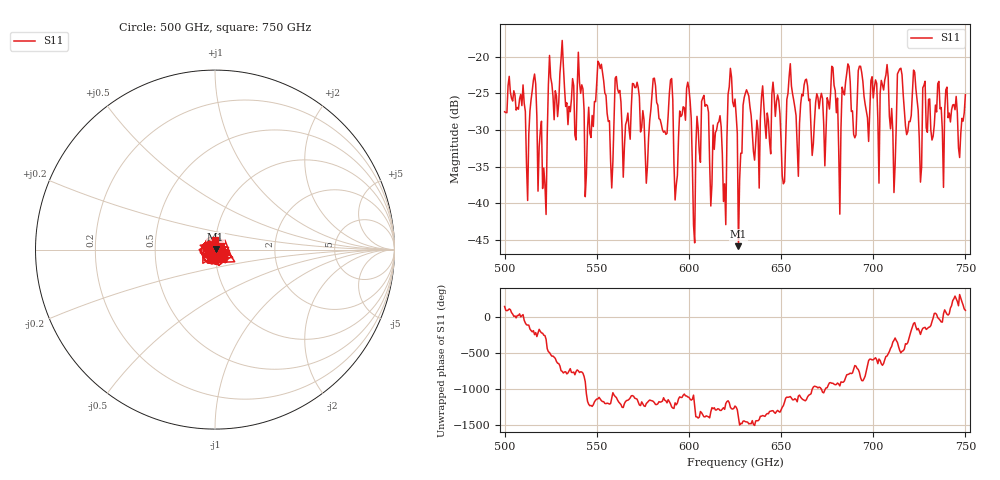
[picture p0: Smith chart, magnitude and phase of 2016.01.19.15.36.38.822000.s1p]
!Created with skrf (http://scikit-rf.org).
# GHz S RI R 50.0
!freq ReS11 ImS11
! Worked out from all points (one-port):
!   401 points, 500 GHz to 750 GHz, reference 50 ohm
!   lowest |S11| = -45.9 dB at 626.9 GHz (marker M1), VSWR 1.01, Z = 50.3 + j0.426 ohm
!   |S11| at or under -10 dB: start of sweep to end of sweep
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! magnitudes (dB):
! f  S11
! 500 GHz  -27.5
! 512.5 GHz  -39.6
! 515.6 GHz  -23.2
! 521.9 GHz  -37.4
! 525 GHz  -22.8
! 531.2 GHz  -17.8
! 545 GHz  -29.7
! 551.9 GHz  -21.6
! 557.5 GHz  -34.2
! 562.5 GHz  -24.6
! 577.5 GHz  -35.0
! 590 GHz  -23.2
! 593.8 GHz  -36.2
! 600 GHz  -24.4
! 603.1 GHz  -45.4
! 608.1 GHz  -25.3
! 619.4 GHz  -37.4
! 621.9 GHz  -24.1
! 625 GHz  -25.8
! 626.9 GHz  -45.9
! 631.2 GHz  -24.5
! 651.2 GHz  -37.3
! 656.2 GHz  -25.1
! 678.1 GHz  -21.5
! 681.2 GHz  -32.5
! 687.5 GHz  -23.4
! 718.8 GHz  -30.2
! 750 GHz  -25.2
